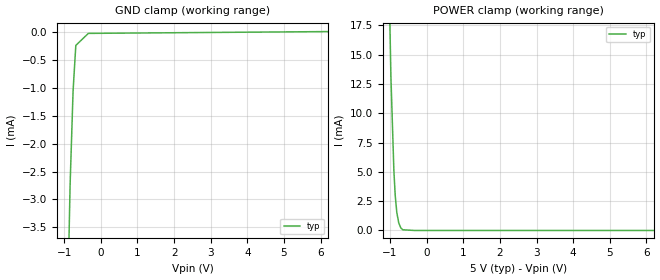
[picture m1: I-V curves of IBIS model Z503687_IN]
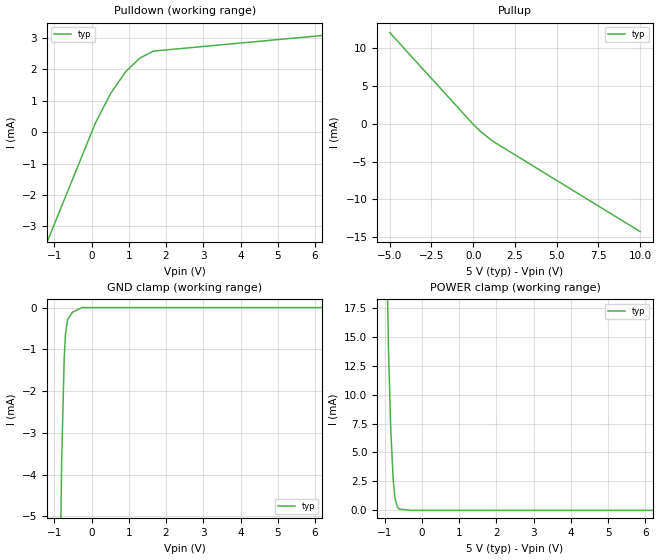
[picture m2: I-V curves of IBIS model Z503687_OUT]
| YOU ARE ONLY AUTHORIZED TO USE THIS SOFTWARE
| ACCORDING TO LICENSOR'S LICENSE RESTRICTIONS.
[IBIS Ver] 3.1
[File Name] mc14584bcl.ibs
[File Rev] 2.0
[Source] Measured and created by ICX Technology
[Date] Friday 7/14/00 9:07:57 AM
[Copyright]
| (C) COPYRIGHT 1993-2000
| MENTOR GRAPHICS CORPORATION
| ICX STANDARD LIBRARY, ICX PROJECT MODELING,
| ICX CUSTOM MODELING, ICX VENDOR MODEL
| ALL RIGHTS RESERVED.
| THE FOLLOWING ARE TRADEMARKS OR SERVICE MARKS OF
| MENTOR GRAPHICS CORPORATION:ICX (R), ICX STANDARD
| LIBRARY(R), ICX PROJECT MODELING(R), ICX CUSTOM
| MODELING(R), qualityIBIS(TM), MODELVIEWER(TM),
| AND MODELEDITOR(TM)
| ALL COPIES OF SOFTWARE, INCLUDING BUT NOT LIMITED TO
| ANY MODIFICATIONS, ENHANCEMENTS OR DERIVATIVE WORKS,
| MUST CONTAIN ALL MENTOR GRAPHICS CORPORATION'S
| NOTICES AND LEGENDS, INCLUDING THOSE EMBEDDED IN
| SOFTWARE AND THOSE AFFIXED TO SOFTWARE MEDIUM
| AND CONTAINER, AS RECEIVED FROM MENTOR GRAPHICS
| CORPORATION.
|  ZAP Model Builder 2.7
[Component] MC14584BCL
[Manufacturer] OnSemiconductor
[Package]
| variable   typ   min   max
R_pkg  .21ohms NA NA
L_pkg  4.543nH NA NA
C_pkg  1.8pF NA NA
[Pin] signal_name  model_name  R_pin  L_pin C_pin
1 IN1 Z503687_IN .22 6.757n 2.434p
2 OUT1 Z503687_OUT .212 4.757n 1.941p
3 IN2 Z503687_IN .204 3.257n 1.448p
4 OUT2 Z503687_OUT .196 2.257n .955p
5 IN3 Z503687_IN .204 3.257n 1.448p
6 OUT3 Z503687_OUT .212 4.757n 1.941p
7 VSS POWER .22 6.757n 2.434p
8 OUT4 Z503687_OUT .22 6.757n 2.434p
9 IN4 Z503687_IN .212 4.757n 1.941p
10 OUT5 Z503687_OUT .204 3.257n 1.448p
11 IN5 Z503687_IN .196 2.257n .955p
12 OUT6 Z503687_OUT .204 3.257n 1.448p
13 IN6 Z503687_IN .212 4.757n 1.941p
14 VDD POWER .22 6.757n 2.434p
| Models and submodels in the file (2): Z503687_IN (Input), Z503687_OUT (Output)
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| (C) COPYRIGHT 1993-2000
| MENTOR GRAPHICS CORPORATION
| ICX STANDARD LIBRARY, ICX PROJECT MODELING,
| ICX CUSTOM MODELING, ICX VENDOR MODEL
| ALL RIGHTS RESERVED.
| THE FOLLOWING ARE TRADEMARKS OR SERVICE MARKS OF
| MENTOR GRAPHICS CORPORATION:ICX (R), ICX STANDARD
| LIBRARY(R), ICX PROJECT MODELING(R), ICX CUSTOM
| MODELING(R), qualityIBIS(TM), MODELVIEWER(TM),
| AND MODELEDITOR(TM)
| ALL COPIES OF SOFTWARE, INCLUDING BUT NOT LIMITED TO
| ANY MODIFICATIONS, ENHANCEMENTS OR DERIVATIVE WORKS,
| MUST CONTAIN ALL MENTOR GRAPHICS CORPORATION'S
| NOTICES AND LEGENDS, INCLUDING THOSE EMBEDDED IN
| SOFTWARE AND THOSE AFFIXED TO SOFTWARE MEDIUM
| AND CONTAINER, AS RECEIVED FROM MENTOR GRAPHICS
| CORPORATION.
| Model Application Version 1.89 2/18/99.
[Model] Z503687_IN
Model_type Input
Vinl = 1.500V
Vinh = 3.500V
C_comp 4.000pF NA NA
| variable typ   min   max
[Voltage Range] 5.000V NA NA
[GND Clamp Reference] 0.000V NA NA
[POWER Clamp Reference] 5.000V NA NA
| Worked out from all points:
|   GND clamp passes 1 mA (typ) near -0.75 V on its own axis
|   POWER clamp passes 1 mA (typ) near -0.78 V on its own axis
[GND Clamp]
-5V       -134.5mA   NA         NA
-839.5mV  -2.736mA   NA         NA
-758.1mV  -1.053mA   NA         NA
-683.6mV  -240.5uA   NA         NA
-341.8mV  -24.95uA   NA         NA
10V       26.3uA     NA         NA
[POWER Clamp]
-5V       650.5mA    NA         NA
-976mV    13.12mA    NA         NA
-895mV    5.083mA    NA         NA
-859mV    3.009mA    NA         NA
-815mV    1.53mA     NA         NA
-762mV    637.2uA    NA         NA
-706mV    217.4uA    NA         NA
-649mV    57.63uA    NA         NA
-324.5mV  0A         NA         NA
10V       0A         NA         NA
| (C) COPYRIGHT 1993-2000
| MENTOR GRAPHICS CORPORATION
| ICX STANDARD LIBRARY, ICX PROJECT MODELING,
| ICX CUSTOM MODELING, ICX VENDOR MODEL
| ALL RIGHTS RESERVED.
| THE FOLLOWING ARE TRADEMARKS OR SERVICE MARKS OF
| MENTOR GRAPHICS CORPORATION:ICX (R), ICX STANDARD
| LIBRARY(R), ICX PROJECT MODELING(R), ICX CUSTOM
| MODELING(R), qualityIBIS(TM), MODELVIEWER(TM),
| AND MODELEDITOR(TM)
| ALL COPIES OF SOFTWARE, INCLUDING BUT NOT LIMITED TO
| ANY MODIFICATIONS, ENHANCEMENTS OR DERIVATIVE WORKS,
| MUST CONTAIN ALL MENTOR GRAPHICS CORPORATION'S
| NOTICES AND LEGENDS, INCLUDING THOSE EMBEDDED IN
| SOFTWARE AND THOSE AFFIXED TO SOFTWARE MEDIUM
| AND CONTAINER, AS RECEIVED FROM MENTOR GRAPHICS
| CORPORATION.
| Model Application Version 1.89 2/18/99.
[Model] Z503687_OUT
Model_type Output
Vref=0.000V
Rref=500.0Mohms
Cref=50.00pF
Vmeas=2.500V
C_comp 8.000pF NA NA
| variable typ   min   max
[Voltage Range] 5.000V NA NA
[POWER Clamp Reference] 5.000V NA NA
[Pullup Reference] 5.000V NA NA
[Pulldown Reference] 0.000V NA NA
[GND Clamp Reference] 0.000V NA NA
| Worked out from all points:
|   slope of the pulldown table from 0 to 0.75 V, typ, clamps not added: 455 ohm
|   slope of the pullup table from 0 to 0.75 V, typ, clamps not added: 504 ohm
|   GND clamp passes 1 mA (typ) near -0.72 V on its own axis
|   POWER clamp passes 1 mA (typ) near -0.72 V on its own axis
[GND Clamp]
-5V       -294.7mA   NA         NA
-805.4mV  -3.737mA   NA         NA
-735.5mV  -1.219mA   NA         NA
-703mV    -653.5uA   NA         NA
-644.5mV  -287uA     NA         NA
-513mV    -112.4uA   NA         NA
-256.5mV  0A         NA         NA
10V       0A         NA         NA
[Pulldown]
-5V       -14.59mA   NA         NA
103.8mV   290.8uA    NA         NA
513mV     1.232mA    NA         NA
923.5mV   1.931mA    NA         NA
1.299V    2.353mA    NA         NA
1.66V     2.574mA    NA         NA
10V       3.486mA    NA         NA
[Pullup]
-5V       12.05mA    NA         NA
7mV       -97.11uA   NA         NA
454mV     -1.047mA   NA         NA
1.162V    -2.296mA   NA         NA
10V       -14.26mA   NA         NA
[POWER Clamp]
-5V       719.8mA    NA         NA
-893mV    13.47mA    NA         NA
-836mV    7.007mA    NA         NA
-767mV    2.47mA     NA         NA
-721mV    1.076mA    NA         NA
-669mV    383.2uA    NA         NA
-615mV    113.2uA    NA         NA
-307.5mV  0A         NA         NA
10V       0A         NA         NA
[Ramp]
| variable typ min max
dV/dt_r 2.512/12.18n NA NA
dV/dt_f 2.512/12.29n NA NA
R_load = 2.500kOhms
